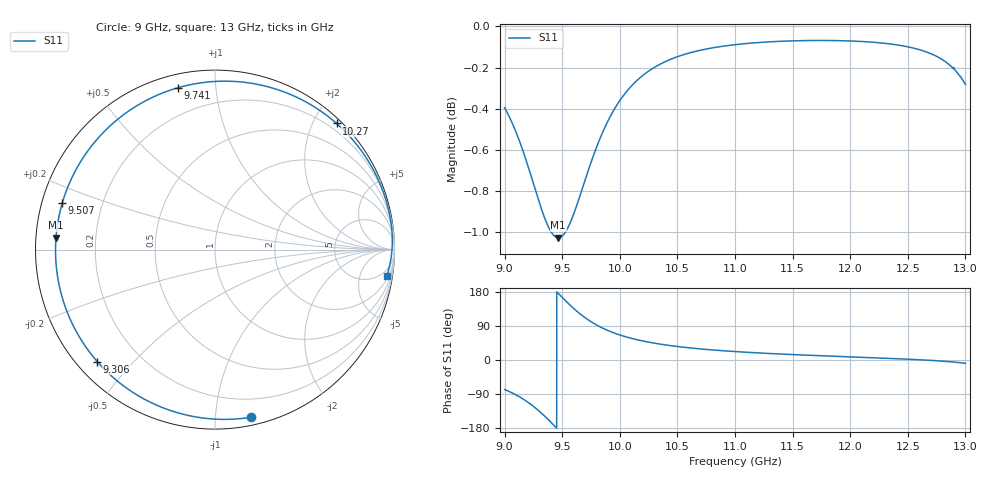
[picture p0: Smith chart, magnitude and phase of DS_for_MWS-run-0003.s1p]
! TOUCHSTONE file generated by CST DESIGN STUDIO
! Date and time: Tue Feb  4 13:34:34 2025
! Project name: C:\Work\MatlabApps\UnitCellOptimizationMatlab\CST\unitcell.cst
! Tree item: Tasks\Sweep1\SPara1\S-Parameters
! Header version: 2024
! Port assignment regex: !\s*Touchstone port\s*([0-9]+)\s*=\s*(CST MWS port|CST DES external port|CST DES block port)\s*(.+)\s* \(\"(.*)\"\)(\s*mode\s*([0-9]+))?.*
! Touchstone port assignment:
! Touchstone port 1 = CST DES external port 1 ("")
# GHz S MA R 50
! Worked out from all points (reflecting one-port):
!   4001 points, 9 GHz to 13 GHz, reference 50 ohm
!   lowest |S11| = -1.0 dB at 9.466 GHz (marker M1), VSWR 16.93, Z = 2.96 + j1.85 ohm
!   phase of S11 starts at -78 deg and turns -291 deg over the sweep
!   S11 on the Smith chart (normalised r, x): 9 GHz: 0.06, -1.23; 9.306 GHz: 0.06, -0.40; 9.507 GHz: 0.06, +0.15; 9.741 GHz: 0.06, +0.80; 10.27 GHz: 0.08, +2.35; 13 GHz: 3, -12
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9  0.9556 -77.9
9.096  0.943 -91.6
9.173  0.9303 -105.4
9.241  0.9176 -120.1
9.306  0.9053 -136.4
9.351  0.8978 -149.0
9.391  0.8926 -160.9
9.429  0.8895 -172.7
9.466  0.8885 175.8
9.5  0.8893 165.2
9.507  0.8897 163.0
9.568  0.8957 144.8
9.624  0.9043 129.5
9.681  0.9144 115.6
9.741  0.9251 102.9
9.8  0.9349 92.2
9.869  0.9449 81.6
10  0.9593 66.1
10.125  0.9688 55.3
10.269  0.9761 46.0
10.5  0.9832 35.6
10.722  0.9871 28.6
11  0.9898 22.3
11.5  0.9919 14.3
12  0.9919 8.2
12.5  0.9886 2.1
12.787  0.9821 -2.7
13  0.9681 -8.8
